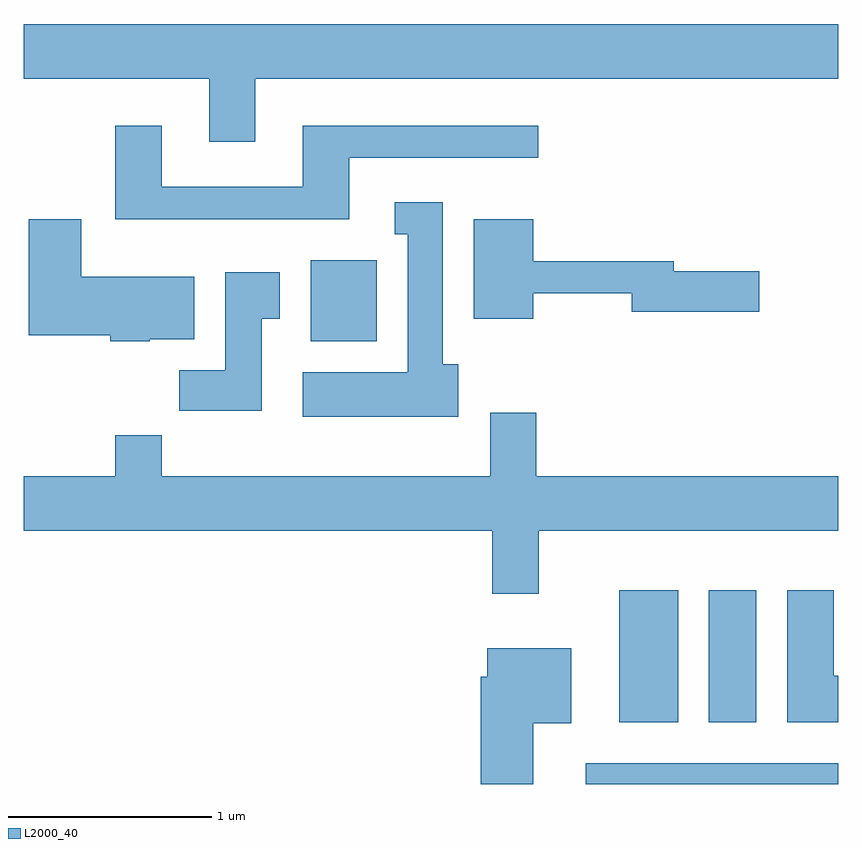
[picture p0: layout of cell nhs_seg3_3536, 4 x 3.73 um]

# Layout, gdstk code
import gdstk
lib = gdstk.Library(unit=1e-6, precision=1e-09)
def R(c, l, rs):  # rectangles x0, y0, x1, y1
    for r in rs: c.add(gdstk.rectangle(r[:2], r[2:], *l))
def P(c, l, *ps):  # polygons
    for p in ps: c.add(gdstk.Polygon(p, *l))
L2000_40 = (2000, 40)

nhs_seg3_3536 = lib.new_cell('nhs_seg3_3536')
R(nhs_seg3_3536, L2000_40, [(292.371,1115.892,293.611,1115.994), (292.536,1116.196,292.824,1116.844), (292.976,1116.196,293.209,1116.844), (291.021,1118.066,291.344,1118.464)])
P(nhs_seg3_3536, L2000_40, [(290.749,1119.356),(293.611,1119.356),(293.611,1119.624),(289.611,1119.624),(289.611,1119.356),(290.521,1119.356),(290.521,1119.046),(290.749,1119.046)],
  [(291.209,1118.966),(292.138,1118.966),(292.138,1119.124),(290.981,1119.124),(290.981,1118.824),(290.289,1118.824),(290.289,1119.124),(290.061,1119.124),(290.061,1118.666),(291.209,1118.666)],
  [(291.744,1117.954),(291.669,1117.954),(291.669,1118.749),(291.433,1118.749),(291.433,1118.591),(291.496,1118.591),(291.496,1117.914),(290.981,1117.914),(290.981,1117.696),(291.744,1117.696)],
  [(290.23,1118.076),(290.449,1118.076),(290.449,1118.384),(289.894,1118.384),(289.894,1118.664),(289.636,1118.664),(289.636,1118.096),(290.036,1118.096),(290.036,1118.066),(290.23,1118.066)],
  [(292.114,1118.301),(292.596,1118.301),(292.596,1118.211),(293.224,1118.211),(293.224,1118.409),(292.804,1118.409),(292.804,1118.459),(292.114,1118.459),(292.114,1118.664),(291.821,1118.664),(291.821,1118.176),(292.114,1118.176)],
  [(290.779,1118.176),(290.869,1118.176),(290.869,1118.404),(290.601,1118.404),(290.601,1117.924),(290.376,1117.924),(290.376,1117.726),(290.779,1117.726)],
  [(292.139,1117.136),(293.611,1117.136),(293.611,1117.404),(292.129,1117.404),(292.129,1117.714),(291.901,1117.714),(291.901,1117.404),(290.289,1117.404),(290.289,1117.604),(290.061,1117.604),(290.061,1117.404),(289.611,1117.404),(289.611,1117.136),(291.911,1117.136),(291.911,1116.826),(292.139,1116.826)],
  [(293.611,1116.424),(293.589,1116.424),(293.589,1116.844),(293.361,1116.844),(293.361,1116.196),(293.611,1116.196)],
  [(292.114,1116.191),(292.299,1116.191),(292.299,1116.559),(291.886,1116.559),(291.886,1116.419),(291.856,1116.419),(291.856,1115.892),(292.114,1115.892)])

lib.write_gds('nhs_seg3_3536.gds')
